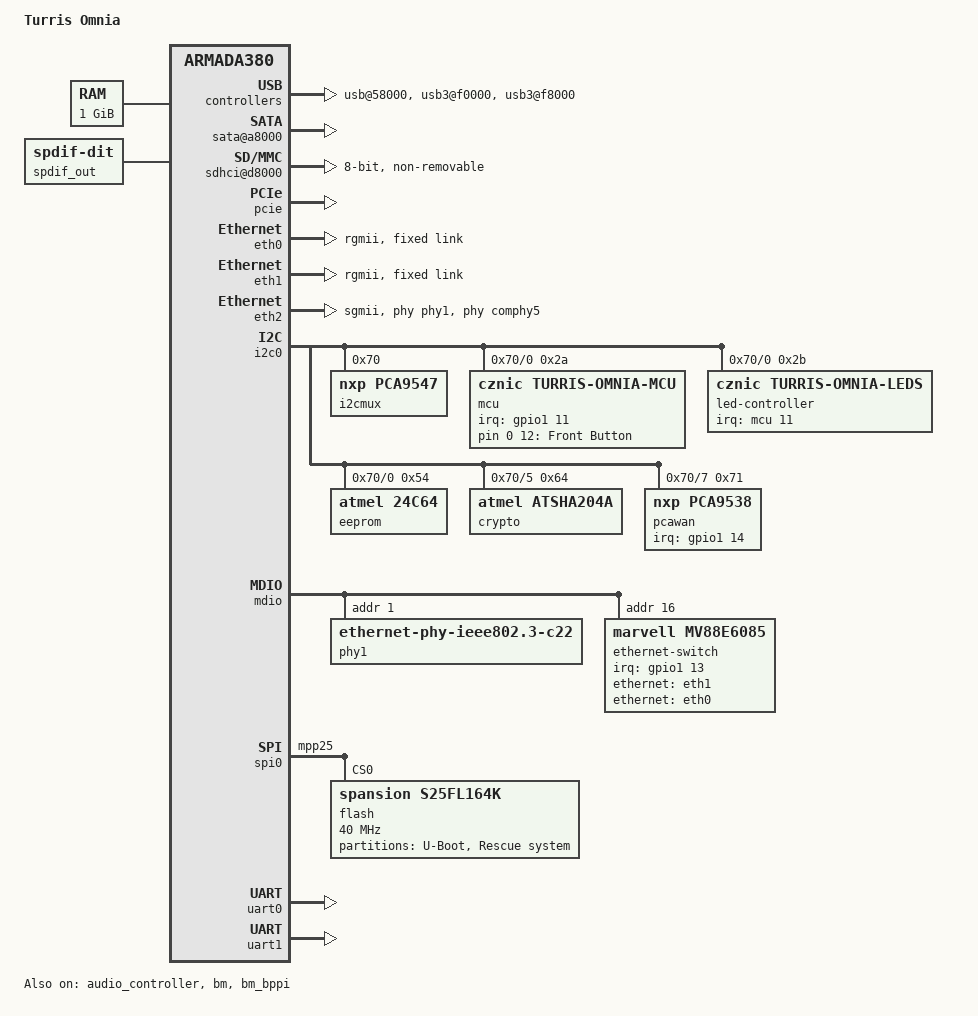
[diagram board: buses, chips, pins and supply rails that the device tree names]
// SPDX-License-Identifier: (GPL-2.0 OR MIT)
/*
 * Device Tree file for the Turris Omnia
 *
 * Copyright (C) 2016 Uwe Kleine-König <uwe@kleine-koenig.org>
 * Copyright (C) 2016 Tomas Hlavacek <tmshlvkc@gmail.com>
 *
 * Schematic available at https://www.turris.cz/doc/_media/rtrom01-schema.pdf
 */

/dts-v1/;

#include <dt-bindings/gpio/gpio.h>
#include <dt-bindings/input/input.h>
#include <dt-bindings/leds/common.h>
#include "armada-385.dtsi"

/ {
	model = "Turris Omnia";
	compatible = "cznic,turris-omnia", "marvell,armada385", "marvell,armada380";

	chosen {
		stdout-path = &uart0;
	};

	aliases {
		ethernet0 = &eth0;
		ethernet1 = &eth1;
		ethernet2 = &eth2;
	};

	memory {
		device_type = "memory";
		reg = <0x00000000 0x40000000>; /* 1024 MB */
	};

	soc {
		ranges = <MBUS_ID(0xf0, 0x01) 0 0xf1000000 0x100000
			  MBUS_ID(0x01, 0x1d) 0 0xfff00000 0x100000
			  MBUS_ID(0x09, 0x19) 0 0xf1100000 0x10000
			  MBUS_ID(0x09, 0x15) 0 0xf1110000 0x10000
			  MBUS_ID(0x0c, 0x04) 0 0xf1200000 0x100000>;

		internal-regs {

			/* USB part of the PCIe2/USB 2.0 port */
			usb@58000 {
				status = "okay";
			};

			sata@a8000 {
				status = "okay";
			};

			sdhci@d8000 {
				pinctrl-names = "default";
				pinctrl-0 = <&sdhci_pins>;
				status = "okay";

				bus-width = <8>;
				no-1-8-v;
				non-removable;
			};

			usb3@f0000 {
				status = "okay";
			};

			usb3@f8000 {
				status = "okay";
			};
		};

		pcie {
			status = "okay";

			pcie@1,0 {
				/* Port 0, Lane 0 */
				status = "okay";
				slot-power-limit-milliwatt = <10000>;
			};

			pcie@2,0 {
				/* Port 1, Lane 0 */
				status = "okay";
				slot-power-limit-milliwatt = <10000>;
			};

			pcie@3,0 {
				/* Port 2, Lane 0 */
				status = "okay";
				slot-power-limit-milliwatt = <10000>;
			};
		};
	};

	sfp: sfp {
		compatible = "sff,sfp";
		i2c-bus = <&sfp_i2c>;
		tx-fault-gpios = <&pcawan 0 GPIO_ACTIVE_HIGH>;
		tx-disable-gpios = <&pcawan 1 GPIO_ACTIVE_HIGH>;
		rate-select0-gpios = <&pcawan 2 GPIO_ACTIVE_HIGH>;
		los-gpios = <&pcawan 3 GPIO_ACTIVE_HIGH>;
		mod-def0-gpios = <&pcawan 4 GPIO_ACTIVE_LOW>;
		maximum-power-milliwatt = <3000>;

		/*
		 * For now this has to be enabled at boot time by U-Boot when
		 * a SFP module is present. Read more in the comment in the
		 * eth2 node below.
		 */
		status = "disabled";
	};

	gpio-keys {
		compatible = "gpio-keys";

		front-button {
			label = "Front Button";
			linux,code = <KEY_VENDOR>;
			linux,can-disable;
			gpios = <&mcu 0 12 GPIO_ACTIVE_HIGH>;
			/* debouncing is done by the microcontroller */
			debounce-interval = <0>;
		};
	};

	sound {
		compatible = "simple-audio-card";
		simple-audio-card,name = "SPDIF";
		simple-audio-card,format = "i2s";

		simple-audio-card,cpu {
			sound-dai = <&audio_controller 1>;
		};

		simple-audio-card,codec {
			sound-dai = <&spdif_out>;
		};
	};

	spdif_out: spdif-out {
		#sound-dai-cells = <0>;
		compatible = "linux,spdif-dit";
	};
};

&audio_controller {
	/* Pin header U16, GPIO51 in SPDIFO mode */
	pinctrl-0 = <&spdif_pins>;
	pinctrl-names = "default";
	spdif-mode;
	status = "okay";
};

&bm {
	status = "okay";
};

&bm_bppi {
	status = "okay";
};

/* Connected to 88E6176 switch, port 6 */
&eth0 {
	pinctrl-names = "default";
	pinctrl-0 = <&ge0_rgmii_pins>;
	status = "okay";
	phy-mode = "rgmii";
	buffer-manager = <&bm>;
	bm,pool-long = <0>;
	bm,pool-short = <3>;

	fixed-link {
		speed = <1000>;
		full-duplex;
	};
};

/* Connected to 88E6176 switch, port 5 */
&eth1 {
	pinctrl-names = "default";
	pinctrl-0 = <&ge1_rgmii_pins>;
	status = "okay";
	phy-mode = "rgmii";
	buffer-manager = <&bm>;
	bm,pool-long = <1>;
	bm,pool-short = <3>;

	fixed-link {
		speed = <1000>;
		full-duplex;
	};
};

/* WAN port */
&eth2 {
	/*
	 * eth2 is connected via a multiplexor to both the SFP cage and to
	 * ethernet-phy@1. The multiplexor switches the signal to SFP cage when
	 * a SFP module is present, as determined by the mode-def0 GPIO.
	 *
	 * Until kernel supports this configuration properly, in case SFP module
	 * is present, U-Boot has to enable the sfp node above, remove phy
	 * handle and add managed = "in-band-status" property.
	 */
	status = "okay";
	phy-mode = "sgmii";
	phy-handle = <&phy1>;
	phys = <&comphy5 2>;
	sfp = <&sfp>;
	buffer-manager = <&bm>;
	bm,pool-long = <2>;
	bm,pool-short = <3>;
	label = "wan";
};

&i2c0 {
	pinctrl-names = "default";
	pinctrl-0 = <&i2c0_pins>;
	status = "okay";

	i2cmux@70 {
		compatible = "nxp,pca9547";
		#address-cells = <1>;
		#size-cells = <0>;
		reg = <0x70>;

		i2c@0 {
			#address-cells = <1>;
			#size-cells = <0>;
			reg = <0>;

			mcu: system-controller@2a {
				compatible = "cznic,turris-omnia-mcu";
				reg = <0x2a>;

				pinctrl-names = "default";
				pinctrl-0 = <&mcu_pins>;

				interrupt-parent = <&gpio1>;
				interrupts = <11 IRQ_TYPE_NONE>;

				gpio-controller;
				#gpio-cells = <3>;

				interrupt-controller;
				#interrupt-cells = <2>;
			};

			led-controller@2b {
				compatible = "cznic,turris-omnia-leds";
				reg = <0x2b>;
				interrupts-extended = <&mcu 11 IRQ_TYPE_NONE>;
				#address-cells = <1>;
				#size-cells = <0>;
				status = "okay";

				/*
				 * LEDs are controlled by MCU (STM32F0) at
				 * address 0x2b.
				 *
				 * LED functions are not stable yet:
				 * - there are 3 LEDs connected via MCU to PCIe
				 *   ports. One of these ports supports mSATA.
				 *   There is no mSATA nor PCIe function.
				 *   For now we use LED_FUNCTION_WLAN, since
				 *   in most cases users have wifi cards in
				 *   these slots
				 * - there are 2 LEDs dedicated for user: A and
				 *   B. Again there is no such function defined.
				 *   For now we use LED_FUNCTION_INDICATOR
				 */

				multi-led@0 {
					reg = <0x0>;
					color = <LED_COLOR_ID_RGB>;
					function = LED_FUNCTION_INDICATOR;
					function-enumerator = <2>;
				};

				multi-led@1 {
					reg = <0x1>;
					color = <LED_COLOR_ID_RGB>;
					function = LED_FUNCTION_INDICATOR;
					function-enumerator = <1>;
				};

				multi-led@2 {
					reg = <0x2>;
					color = <LED_COLOR_ID_RGB>;
					function = LED_FUNCTION_WLAN;
					function-enumerator = <3>;
				};

				multi-led@3 {
					reg = <0x3>;
					color = <LED_COLOR_ID_RGB>;
					function = LED_FUNCTION_WLAN;
					function-enumerator = <2>;
				};

				multi-led@4 {
					reg = <0x4>;
					color = <LED_COLOR_ID_RGB>;
					function = LED_FUNCTION_WLAN;
					function-enumerator = <1>;
				};

				multi-led@5 {
					reg = <0x5>;
					color = <LED_COLOR_ID_RGB>;
					function = LED_FUNCTION_WAN;
				};

				multi-led@6 {
					reg = <0x6>;
					color = <LED_COLOR_ID_RGB>;
					function = LED_FUNCTION_LAN;
					function-enumerator = <4>;
				};

				multi-led@7 {
					reg = <0x7>;
					color = <LED_COLOR_ID_RGB>;
					function = LED_FUNCTION_LAN;
					function-enumerator = <3>;
				};

				multi-led@8 {
					reg = <0x8>;
					color = <LED_COLOR_ID_RGB>;
					function = LED_FUNCTION_LAN;
					function-enumerator = <2>;
				};

				multi-led@9 {
					reg = <0x9>;
					color = <LED_COLOR_ID_RGB>;
					function = LED_FUNCTION_LAN;
					function-enumerator = <1>;
				};

				multi-led@a {
					reg = <0xa>;
					color = <LED_COLOR_ID_RGB>;
					function = LED_FUNCTION_LAN;
					function-enumerator = <0>;
				};

				multi-led@b {
					reg = <0xb>;
					color = <LED_COLOR_ID_RGB>;
					function = LED_FUNCTION_POWER;
				};
			};

			eeprom@54 {
				compatible = "atmel,24c64";
				reg = <0x54>;

				/* The EEPROM contains data for bootloader.
				 * Contents:
				 * 	struct omnia_eeprom {
				 * 		u32 magic; (=0x0341a034 in LE)
				 *		u32 ramsize; (in GiB)
				 * 		char regdomain[4];
				 * 		u32 crc32;
				 * 	};
				 */
			};
		};

		i2c@1 {
			#address-cells = <1>;
			#size-cells = <0>;
			reg = <1>;

			/* routed to PCIe0/mSATA connector (CN7A) */
		};

		i2c@2 {
			#address-cells = <1>;
			#size-cells = <0>;
			reg = <2>;

			/* routed to PCIe1/USB2 connector (CN61A) */
		};

		i2c@3 {
			#address-cells = <1>;
			#size-cells = <0>;
			reg = <3>;

			/* routed to PCIe2 connector (CN62A) */
		};

		sfp_i2c: i2c@4 {
			#address-cells = <1>;
			#size-cells = <0>;
			reg = <4>;

			/* routed to SFP+ */
		};

		i2c@5 {
			#address-cells = <1>;
			#size-cells = <0>;
			reg = <5>;

			/* ATSHA204A-MAHDA-T crypto module */
			crypto@64 {
				compatible = "atmel,atsha204a";
				reg = <0x64>;
			};
		};

		i2c@6 {
			#address-cells = <1>;
			#size-cells = <0>;
			reg = <6>;

			/* exposed on pin header */
		};

		i2c@7 {
			#address-cells = <1>;
			#size-cells = <0>;
			reg = <7>;

			pcawan: gpio@71 {
				/*
				 * GPIO expander for SFP+ signals and
				 * and phy irq
				 */
				compatible = "nxp,pca9538";
				reg = <0x71>;

				pinctrl-names = "default";
				pinctrl-0 = <&pcawan_pins>;

				interrupt-parent = <&gpio1>;
				interrupts = <14 IRQ_TYPE_LEVEL_LOW>;

				gpio-controller;
				#gpio-cells = <2>;
			};
		};
	};
};

&mdio {
	pinctrl-names = "default";
	pinctrl-0 = <&mdio_pins>;
	status = "okay";

	phy1: ethernet-phy@1 {
		compatible = "ethernet-phy-ieee802.3-c22";
		reg = <1>;
		marvell,reg-init = <3 18 0 0x4985>,
				   <3 16 0xfff0 0x0001>;

		/* irq is connected to &pcawan pin 7 */
	};

	/* Switch MV88E6176 at address 0x10 */
	ethernet-switch@10 {
		pinctrl-names = "default";
		pinctrl-0 = <&swint_pins>;
		compatible = "marvell,mv88e6085";

		dsa,member = <0 0>;
		reg = <0x10>;

		interrupt-parent = <&gpio1>;
		interrupts = <13 IRQ_TYPE_LEVEL_LOW>;

		ethernet-ports {
			#address-cells = <1>;
			#size-cells = <0>;

			ethernet-port@0 {
				reg = <0>;
				label = "lan0";
			};

			ethernet-port@1 {
				reg = <1>;
				label = "lan1";
			};

			ethernet-port@2 {
				reg = <2>;
				label = "lan2";
			};

			ethernet-port@3 {
				reg = <3>;
				label = "lan3";
			};

			ethernet-port@4 {
				reg = <4>;
				label = "lan4";
			};

			ethernet-port@5 {
				reg = <5>;
				ethernet = <&eth1>;
				phy-mode = "rgmii-id";

				fixed-link {
					speed = <1000>;
					full-duplex;
				};
			};

			ethernet-port@6 {
				reg = <6>;
				ethernet = <&eth0>;
				phy-mode = "rgmii-id";

				fixed-link {
					speed = <1000>;
					full-duplex;
				};
			};
		};
	};
};

&pinctrl {
	mcu_pins: mcu-pins {
		marvell,pins = "mpp43";
		marvell,function = "gpio";
	};

	pcawan_pins: pcawan-pins {
		marvell,pins = "mpp46";
		marvell,function = "gpio";
	};

	swint_pins: swint-pins {
		marvell,pins = "mpp45";
		marvell,function = "gpio";
	};

	spi0cs0_pins: spi0cs0-pins {
		marvell,pins = "mpp25";
		marvell,function = "spi0";
	};

	spi0cs2_pins: spi0cs2-pins {
		marvell,pins = "mpp26";
		marvell,function = "spi0";
	};
};

&spi0 {
	pinctrl-names = "default";
	pinctrl-0 = <&spi0_pins &spi0cs0_pins>;
	status = "okay";

	flash@0 {
		compatible = "spansion,s25fl164k", "jedec,spi-nor";
		#address-cells = <1>;
		#size-cells = <1>;
		reg = <0>;
		spi-max-frequency = <40000000>;

		partitions {
			compatible = "fixed-partitions";
			#address-cells = <1>;
			#size-cells = <1>;

			partition@0 {
				reg = <0x0 0x00100000>;
				label = "U-Boot";
			};

			partition@100000 {
				reg = <0x00100000 0x00700000>;
				label = "Rescue system";
			};
		};
	};

	/* MISO, MOSI, SCLK and CS2 are routed to pin header CN11 */
};

&uart0 {
	/* Pin header CN10 */
	pinctrl-names = "default";
	pinctrl-0 = <&uart0_pins>;
	status = "okay";
};

&uart1 {
	/* Pin header CN11 */
	pinctrl-names = "default";
	pinctrl-0 = <&uart1_pins>;
	status = "okay";
};
